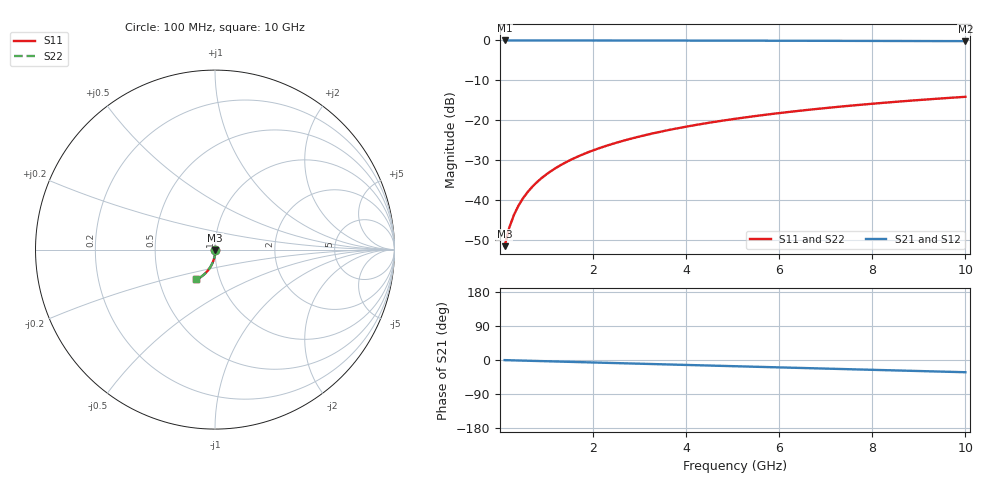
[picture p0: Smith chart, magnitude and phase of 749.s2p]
# Hz S RI R 50.00
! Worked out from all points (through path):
!   100 points, 100 MHz to 10 GHz, reference 50 ohm
!   highest |S21| = -0.01 dB at 100 MHz (marker M1); lowest = -0.2 dB at 10 GHz (marker M2)
!   group delay of S21, straight-line fit = 8.97 ps
!   lowest |S11| = -51.6 dB at 100 MHz (marker M3), VSWR 1.01, Z = 50.2 - j0.21 ohm
!   |S11| at or under -10 dB: start of sweep to end of sweep
!   |S22| runs from -51.6 to -14.2 dB; largest |S21 - S12| = 0
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1e8  0.00157 -0.0021  0.9984 -0.00568  0.9984 -0.00568  0.00157 -0.0021
2e8  0.00155 -0.00419  0.9983 -0.0114  0.9983 -0.0114  0.00155 -0.00419
3e8  0.00149 -0.00629  0.9982 -0.017  0.9982 -0.017  0.00149 -0.00629
4e8  0.00141 -0.00838  0.9981 -0.0227  0.9981 -0.0227  0.00141 -0.00838
5e8  0.0013 -0.0105  0.9979 -0.0284  0.9979 -0.0284  0.0013 -0.0105
6e8  0.00117 -0.0126  0.9977 -0.0341  0.9977 -0.0341  0.00117 -0.0126
7e8  0.00102 -0.0147  0.9974 -0.0398  0.9974 -0.0398  0.00102 -0.0147
8e8  0.000843 -0.0167  0.9972 -0.0454  0.9972 -0.0454  0.000843 -0.0167
9e8  0.000641 -0.0188  0.9968 -0.0511  0.9968 -0.0511  0.000641 -0.0188
1.1e9  0.000166 -0.023  0.9961 -0.0624  0.9961 -0.0624  0.000166 -0.023
1.4e9  -0.000725 -0.0292  0.9947 -0.0794  0.9947 -0.0794  -0.000725 -0.0292
1.8e9  -0.00224 -0.0375  0.9923 -0.102  0.9923 -0.102  -0.00224 -0.0375
2.1e9  -0.00363 -0.0436  0.9902 -0.1189  0.9902 -0.1189  -0.00363 -0.0436
2.5e9  -0.00579 -0.0517  0.9868 -0.1413  0.9868 -0.1413  -0.00579 -0.0517
2.9e9  -0.00832 -0.0597  0.9829 -0.1636  0.9829 -0.1636  -0.00832 -0.0597
3.4e9  -0.012 -0.0695  0.9771 -0.1913  0.9771 -0.1913  -0.012 -0.0695
4.2e9  -0.019 -0.0846  0.9662 -0.235  0.9662 -0.235  -0.019 -0.0846
5.1e9  -0.0284 -0.1008  0.9512 -0.2833  0.9512 -0.2833  -0.0284 -0.1008
5.9e9  -0.0381 -0.1143  0.9357 -0.3253  0.9357 -0.3253  -0.0381 -0.1143
6.7e9  -0.049 -0.1269  0.9183 -0.3663  0.9183 -0.3663  -0.049 -0.1269
8.4e9  -0.0753 -0.1499  0.8749 -0.4494  0.8749 -0.4494  -0.0753 -0.1499
1e10  -0.1034 -0.1665  0.8272 -0.5222  0.8272 -0.5222  -0.1034 -0.1665
